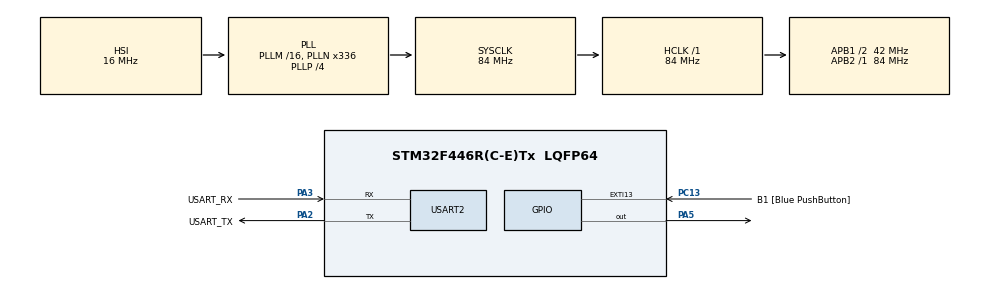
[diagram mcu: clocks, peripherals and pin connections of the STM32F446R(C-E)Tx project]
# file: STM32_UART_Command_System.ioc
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Dma.Request0=USART2_RX
Dma.USART2_RX.0.Direction=DMA_PERIPH_TO_MEMORY
Dma.USART2_RX.0.FIFOMode=DMA_FIFOMODE_DISABLE
Dma.USART2_RX.0.Instance=DMA1_Stream5
Dma.USART2_RX.0.MemDataAlignment=DMA_MDATAALIGN_BYTE
Dma.USART2_RX.0.MemInc=DMA_MINC_ENABLE
Dma.USART2_RX.0.Mode=DMA_CIRCULAR
Dma.USART2_RX.0.PeriphDataAlignment=DMA_PDATAALIGN_BYTE
Dma.USART2_RX.0.PeriphInc=DMA_PINC_DISABLE
Dma.USART2_RX.0.Priority=DMA_PRIORITY_LOW
Mcu.Family=STM32F4
Mcu.Name=STM32F446R(C-E)Tx
Mcu.Package=LQFP64
NVIC.DMA1_Stream5_IRQn=true\:0\:0\:false\:false\:true\:false\:true\:true
NVIC.PriorityGroup=NVIC_PRIORITYGROUP_0
NVIC.USART2_IRQn=true\:0\:0\:false\:false\:true\:true\:true\:true
PA13.GPIO_Label=TMS
PA13.Mode=Serial_Wire
PA13.Signal=SYS_JTMS-SWDIO
PA14.GPIO_Label=TCK
PA14.Mode=Serial_Wire
PA14.Signal=SYS_JTCK-SWCLK
PA2.GPIO_Label=USART_TX
PA2.Mode=Asynchronous
PA2.Signal=USART2_TX
PA3.GPIO_Label=USART_RX
PA3.Mode=Asynchronous
PA3.Signal=USART2_RX
PA5.Signal=GPIO_Output
PB3.GPIO_Label=SWO
PB3.Signal=SYS_JTDO-SWO
PC13.GPIO_Label=B1 [Blue PushButton]
PC13.GPIO_ModeDefaultEXTI=GPIO_MODE_IT_FALLING
PC13.Signal=GPXTI13
PC14-OSC32_IN.Mode=LSE-External-Oscillator
PC14-OSC32_IN.Signal=RCC_OSC32_IN
PC15-OSC32_OUT.Mode=LSE-External-Oscillator
PC15-OSC32_OUT.Signal=RCC_OSC32_OUT
PH0-OSC_IN.Mode=HSE-External-Oscillator
PH0-OSC_IN.Signal=RCC_OSC_IN
PH1-OSC_OUT.Mode=HSE-External-Oscillator
PH1-OSC_OUT.Signal=RCC_OSC_OUT
ProjectManager.HeapSize=0x200
ProjectManager.StackSize=0x400
ProjectManager.TargetToolchain=STM32CubeIDE
RCC.48MHZClocksFreq_Value=84000000
RCC.AHBFreq_Value=84000000
RCC.APB1CLKDivider=RCC_HCLK_DIV2
RCC.APB1Freq_Value=42000000
RCC.APB1TimFreq_Value=84000000
RCC.APB2Freq_Value=84000000
RCC.APB2TimFreq_Value=84000000
RCC.CortexFreq_Value=84000000
RCC.FLatency-AdvancedSettings=FLASH_LATENCY_2
RCC.HCLKFreq_Value=84000000
RCC.HSE_VALUE=8000000
RCC.HSI_VALUE=16000000
RCC.PLLN=336
RCC.PLLP=RCC_PLLP_DIV4
RCC.SYSCLKFreq_VALUE=84000000
RCC.SYSCLKSource=RCC_SYSCLKSOURCE_PLLCLK
RCC.USBFreq_Value=168000000
RCC.VCOOutputFreq_Value=336000000
USART2.VirtualMode=VM_ASYNC
board=NUCLEO-F446RE

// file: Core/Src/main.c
/* USER CODE BEGIN Header */
/**
  ******************************************************************************
  * @file           : main.c
  * @brief          : Main program body
  ******************************************************************************
  * @attention
  *
  * Copyright (c) 2026 STMicroelectronics.
  * All rights reserved.
  *
  * This software is licensed under terms that can be found in the LICENSE file
  * in the root directory of this software component.
  * If no LICENSE file comes with this software, it is provided AS-IS.
  *
  ******************************************************************************
  */
/* USER CODE END Header */
#include "main.h"
#include "parser.h"
#include "command_queue.h"
#include <string.h>

UART_HandleTypeDef huart2;
DMA_HandleTypeDef hdma_usart2_rx;

/* USER CODE BEGIN PV */
#define UART_DMA_RX_BUF_SIZE 32

static uint8_t uart_dma_rx_buf[UART_DMA_RX_BUF_SIZE];
static uint16_t uart_dma_read_idx = 0;
volatile uint8_t dma_overwrite_flag = 0;
volatile uint8_t command_overflow_flag = 0;
volatile uint8_t uart_rx_idle_flag = 0;

volatile uint32_t dma_bytes_processed = 0;
volatile uint16_t last_write_idx = 0;
volatile uint32_t dma_overwrite_count = 0;
volatile uint16_t last_unread = 0;

parser_t parser;
command_queue_t cmd_queue;

/* USER CODE END PV */

void SystemClock_Config(void);
static void MX_GPIO_Init(void);
static void MX_DMA_Init(void);
static void MX_USART2_UART_Init(void);

/* USER CODE BEGIN 0 */
static void uart_send_text(const char *msg);
static uint16_t uart_dma_get_write_idx(void);
static void uart_dma_process_rx(parser_t *parser, command_queue_t *cmd_queue);
static uint16_t uart_dma_distance(uint16_t from, uint16_t to); //how many bytes lie between from and to moving forward around the ring
/* USER CODE END 0 */

int main(void)
{

  /* MCU Configuration--------------------------------------------------------*/

  /* Reset of all peripherals, Initializes the Flash interface and the Systick. */
  HAL_Init();

  /* Configure the system clock */
  SystemClock_Config();

  /* Initialize all configured peripherals */
  MX_GPIO_Init();
  MX_DMA_Init();
  MX_USART2_UART_Init();
  /* USER CODE BEGIN 2 */
  HAL_UART_Receive_DMA(&huart2, uart_dma_rx_buf, UART_DMA_RX_BUF_SIZE);
  __HAL_UART_ENABLE_IT(&huart2, UART_IT_IDLE);

  parser_init(&parser);

  command_queue_init(&cmd_queue);

  command_t cmd;

  /* USER CODE END 2 */

  /* Infinite loop */
  /* USER CODE BEGIN WHILE */

  while (1)
  {
	  if (uart_rx_idle_flag)
	  {
	      uart_rx_idle_flag = 0;
	      uart_dma_process_rx(&parser, &cmd_queue);
	  }

      while (command_queue_pop(&cmd_queue, &cmd))
      {
          switch (cmd)
          {
              case CMD_LED_ON:
                  HAL_GPIO_WritePin(GPIOA, GPIO_PIN_5, GPIO_PIN_SET);
                  uart_send_text("CMD_LED_ON\r\n");
                  break;

              case CMD_LED_OFF:
                  HAL_GPIO_WritePin(GPIOA, GPIO_PIN_5, GPIO_PIN_RESET);
                  uart_send_text("CMD_LED_OFF\r\n");
                  break;

              case CMD_LED_TOGGLE:
                  HAL_GPIO_TogglePin(GPIOA, GPIO_PIN_5);
                  uart_send_text("CMD_LED_TOGGLE\r\n");
                  break;

              default:
                  uart_send_text("CMD_UNKNOWN\r\n");
                  break;
          }
      }

      if (dma_overwrite_flag)
      {
          parser_init(&parser);
          dma_overwrite_flag = 0;
          uart_send_text("ERR_DMA_OVERWRITE\r\n");
      }

      if (command_overflow_flag)
      {
          command_overflow_flag = 0;
          uart_send_text("ERR_CMD_OVERFLOW\r\n");
      }

  }
    /* USER CODE END WHILE */

  }

static void uart_send_text(const char *msg)
{
    HAL_UART_Transmit(&huart2, (uint8_t *)msg, strlen(msg), 100);
}

static uint16_t uart_dma_get_write_idx(void)
{
    return UART_DMA_RX_BUF_SIZE - __HAL_DMA_GET_COUNTER(huart2.hdmarx);
}

static void uart_dma_process_rx(parser_t *parser, command_queue_t *cmd_queue)
{

    uint16_t write_idx = uart_dma_get_write_idx();
    command_t cmd;

    last_write_idx = write_idx;

    uint16_t unread = uart_dma_distance(uart_dma_read_idx, write_idx);
    last_unread = unread;

    if (unread >= UART_DMA_RX_BUF_SIZE - 1)
    {
        dma_overwrite_flag = 1;
        dma_overwrite_count++;
        uart_dma_read_idx = write_idx;
        return;
    }

    while (uart_dma_read_idx != write_idx)
    {
        uint8_t byte = uart_dma_rx_buf[uart_dma_read_idx];
        dma_bytes_processed++;

        if (parser_process_byte(parser, byte, &cmd))
        {
            if (!command_queue_push(cmd_queue, cmd))
            {
                command_overflow_flag = 1;
            }
        }

        uart_dma_read_idx++;
        if (uart_dma_read_idx >= UART_DMA_RX_BUF_SIZE)
        {
            uart_dma_read_idx = 0;
        }
    }
}

static uint16_t uart_dma_distance(uint16_t from, uint16_t to)
{
    if (to >= from)
    {
        return to - from;
    }
    else
    {
        return UART_DMA_RX_BUF_SIZE - from + to;
    }
}

void SystemClock_Config(void)
{
  RCC_OscInitTypeDef RCC_OscInitStruct = {0};
  RCC_ClkInitTypeDef RCC_ClkInitStruct = {0};

  /** Configure the main internal regulator output voltage
  */
  __HAL_RCC_PWR_CLK_ENABLE();
  __HAL_PWR_VOLTAGESCALING_CONFIG(PWR_REGULATOR_VOLTAGE_SCALE3);

  /** Initializes the RCC Oscillators according to the specified parameters
  * in the RCC_OscInitTypeDef structure.
  */
  RCC_OscInitStruct.OscillatorType = RCC_OSCILLATORTYPE_HSI;
  RCC_OscInitStruct.HSIState = RCC_HSI_ON;
  RCC_OscInitStruct.HSICalibrationValue = RCC_HSICALIBRATION_DEFAULT;
  RCC_OscInitStruct.PLL.PLLState = RCC_PLL_ON;
  RCC_OscInitStruct.PLL.PLLSource = RCC_PLLSOURCE_HSI;
  RCC_OscInitStruct.PLL.PLLM = 16;
  RCC_OscInitStruct.PLL.PLLN = 336;
  RCC_OscInitStruct.PLL.PLLP = RCC_PLLP_DIV4;
  RCC_OscInitStruct.PLL.PLLQ = 2;
  RCC_OscInitStruct.PLL.PLLR = 2;
  if (HAL_RCC_OscConfig(&RCC_OscInitStruct) != HAL_OK)
  {
    Error_Handler();
  }

  /** Initializes the CPU, AHB and APB buses clocks
  */
  RCC_ClkInitStruct.ClockType = RCC_CLOCKTYPE_HCLK|RCC_CLOCKTYPE_SYSCLK
                              |RCC_CLOCKTYPE_PCLK1|RCC_CLOCKTYPE_PCLK2;
  RCC_ClkInitStruct.SYSCLKSource = RCC_SYSCLKSOURCE_PLLCLK;
  RCC_ClkInitStruct.AHBCLKDivider = RCC_SYSCLK_DIV1;
  RCC_ClkInitStruct.APB1CLKDivider = RCC_HCLK_DIV2;
  RCC_ClkInitStruct.APB2CLKDivider = RCC_HCLK_DIV1;

  if (HAL_RCC_ClockConfig(&RCC_ClkInitStruct, FLASH_LATENCY_2) != HAL_OK)
  {
    Error_Handler();
  }
}

static void MX_USART2_UART_Init(void)
{

  huart2.Instance = USART2;
  huart2.Init.BaudRate = 115200;
  huart2.Init.WordLength = UART_WORDLENGTH_8B;
  huart2.Init.StopBits = UART_STOPBITS_1;
  huart2.Init.Parity = UART_PARITY_NONE;
  huart2.Init.Mode = UART_MODE_TX_RX;
  huart2.Init.HwFlowCtl = UART_HWCONTROL_NONE;
  huart2.Init.OverSampling = UART_OVERSAMPLING_16;
  if (HAL_UART_Init(&huart2) != HAL_OK)
  {
    Error_Handler();
  }

}

static void MX_DMA_Init(void)
{

  /* DMA controller clock enable */
  __HAL_RCC_DMA1_CLK_ENABLE();

  /* DMA interrupt init */
  /* DMA1_Stream5_IRQn interrupt configuration */
  HAL_NVIC_SetPriority(DMA1_Stream5_IRQn, 0, 0);
  HAL_NVIC_EnableIRQ(DMA1_Stream5_IRQn);

}

static void MX_GPIO_Init(void)
{
  GPIO_InitTypeDef GPIO_InitStruct = {0};

  /* GPIO Ports Clock Enable */
  __HAL_RCC_GPIOC_CLK_ENABLE();
  __HAL_RCC_GPIOH_CLK_ENABLE();
  __HAL_RCC_GPIOA_CLK_ENABLE();
  __HAL_RCC_GPIOB_CLK_ENABLE();

  /*Configure GPIO pin Output Level */
  HAL_GPIO_WritePin(GPIOA, GPIO_PIN_5, GPIO_PIN_RESET);

  /*Configure GPIO pin : B1_Pin */
  GPIO_InitStruct.Pin = B1_Pin;
  GPIO_InitStruct.Mode = GPIO_MODE_IT_FALLING;
  GPIO_InitStruct.Pull = GPIO_NOPULL;
  HAL_GPIO_Init(B1_GPIO_Port, &GPIO_InitStruct);

  /*Configure GPIO pin : PA5 */
  GPIO_InitStruct.Pin = GPIO_PIN_5;
  GPIO_InitStruct.Mode = GPIO_MODE_OUTPUT_PP;
  GPIO_InitStruct.Pull = GPIO_NOPULL;
  GPIO_InitStruct.Speed = GPIO_SPEED_FREQ_LOW;
  HAL_GPIO_Init(GPIOA, &GPIO_InitStruct);

}

/* USER CODE BEGIN 4 */
void HAL_UART_RxCpltCallback(UART_HandleTypeDef *huart)
{
    (void)huart;
    /* Not used in DMA RX mode */
}
/* USER CODE END 4 */

void Error_Handler(void)
{
  __disable_irq();
  while (1)
  {
  }
}
